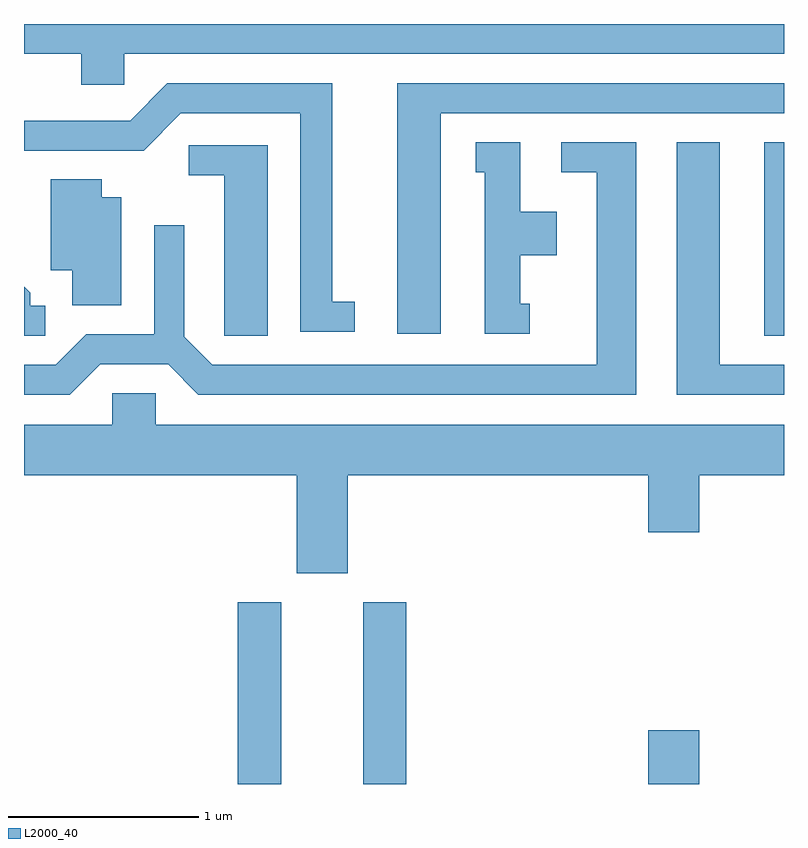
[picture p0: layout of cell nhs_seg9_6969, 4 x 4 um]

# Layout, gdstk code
import gdstk
lib = gdstk.Library(unit=1e-6, precision=1e-09)
def R(c, l, rs):  # rectangles x0, y0, x1, y1
    for r in rs: c.add(gdstk.rectangle(r[:2], r[2:], *l))
def P(c, l, *ps):  # polygons
    for p in ps: c.add(gdstk.Polygon(p, *l))
L2000_40 = (2000, 40)

nhs_seg9_6969 = lib.new_cell('nhs_seg9_6969')
R(nhs_seg9_6969, L2000_40, [(392.736,1972.432,392.964,1973.389), (393.396,1972.432,393.624,1973.389), (394.896,1972.432,395.164,1972.714), (395.506,1974.791,395.611,1975.809)])
P(nhs_seg9_6969, L2000_40, [(392.139,1976.276),(395.611,1976.276),(395.611,1976.432),(391.611,1976.432),(391.611,1976.276),(391.911,1976.276),(391.911,1976.111),(392.139,1976.111)],
  [(393.353,1974.969),(393.234,1974.969),(393.234,1976.119),(392.364,1976.119),(392.169,1975.924),(391.611,1975.924),(391.611,1975.766),(392.242,1975.766),(392.437,1975.961),(393.066,1975.961),(393.066,1974.811),(393.353,1974.811)],
  [(393.804,1975.961),(395.611,1975.961),(395.611,1976.119),(393.576,1976.119),(393.576,1974.801),(393.804,1974.801)],
  [(395.611,1974.639),(395.274,1974.639),(395.274,1975.809),(395.046,1975.809),(395.046,1974.481),(395.611,1974.481)],
  [(392.012,1974.641),(392.369,1974.641),(392.529,1974.481),(394.834,1974.481),(394.834,1975.809),(394.438,1975.809),(394.438,1975.651),(394.626,1975.651),(394.626,1974.639),(392.602,1974.639),(392.454,1974.787),(392.454,1975.373),(392.296,1975.373),(392.296,1974.799),(391.939,1974.799),(391.779,1974.639),(391.611,1974.639),(391.611,1974.481),(391.852,1974.481)],
  [(394.273,1974.959),(394.224,1974.959),(394.224,1975.216),(394.414,1975.216),(394.414,1975.444),(394.224,1975.444),(394.224,1975.809),(393.988,1975.809),(393.988,1975.651),(394.036,1975.651),(394.036,1974.801),(394.273,1974.801)],
  [(392.894,1975.794),(392.478,1975.794),(392.478,1975.636),(392.666,1975.636),(392.666,1974.791),(392.894,1974.791)],
  [(392.124,1975.519),(392.019,1975.519),(392.019,1975.614),(391.751,1975.614),(391.751,1975.136),(391.866,1975.136),(391.866,1974.951),(392.124,1974.951)],
  [(391.723,1974.949),(391.644,1974.949),(391.644,1975.017),(391.611,1975.05),(391.611,1974.791),(391.723,1974.791)],
  [(393.314,1974.056),(394.896,1974.056),(394.896,1973.756),(395.164,1973.756),(395.164,1974.056),(395.611,1974.056),(395.611,1974.324),(392.304,1974.324),(392.304,1974.489),(392.076,1974.489),(392.076,1974.324),(391.611,1974.324),(391.611,1974.056),(393.046,1974.056),(393.046,1973.541),(393.314,1973.541)])

lib.write_gds('nhs_seg9_6969.gds')
